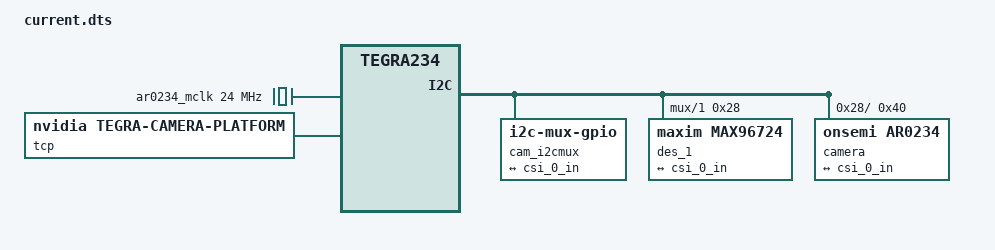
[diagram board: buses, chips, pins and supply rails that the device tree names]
/dts-v1/;
/plugin/;

#define CAM1_PWDN		0xa6
#define CAM_I2C_MUX 	0x13
#define GPIO_ACTIVE_HIGH 0

#define CAM1_LANES 2
#define CAM1_LANES_STRING "2"

/ {
	overlay-name = "AR0234 Integer Channel Fix";
	compatible = "nvidia,p3768-0000+p3767-0005-super",
	             "nvidia,p3767-0005",
	             "nvidia,tegra234";

	fragment@0 {
		target-path = "/";
		__overlay__ {
			ar0234_mclk: ar0234_fixed_clock {
				compatible = "fixed-clock";
				#clock-cells = <0>;
				clock-frequency = <24000000>;
			};
		};
	};

	fragment-camera-ar0234@1 {
		target-path = "/";
		__overlay__ {
			tegra-capture-vi  {
				num-channels = <1>;
				ports {
					#address-cells = <1>;
					#size-cells = <0>;

					vi_port0: port@0 {
						reg = <0>;

						vi_in0: endpoint {
							vc-id = <0>;
							port-index = <2>;
							bus-width = <CAM1_LANES>;
							remote-endpoint = <&csi_0_out>;
						};
					};
				};
			};

			tcp: tegra-camera-platform {
				compatible = "nvidia, tegra-camera-platform";
				num_csi_lanes = <CAM1_LANES>;
				max_lane_speed = <1500000>;
				min_bits_per_pixel = <10>;
				vi_peak_byte_per_pixel = <2>;
				vi_bw_margin_pct = <25>;

				modules {
					cam_module0: module0 {
						badge = "ar0234_custom";
						position = "front";
						orientation = "1";
						status = "okay";
						cam_module0_drivernode0: drivernode0 {
							pcl_id = "v4l2_sensor";
							status = "okay";
							sysfs-device-tree = "/sys/firmware/devicetree/base/bus@0/cam_i2cmux/i2c@1/max96724@28/i2c-mux/i2c@0/camera@40";
						};
					};
				};
			};

			bus@0 {
				host1x@13e00000 {
					nvcsi@15a00000 {
						#address-cells = <1>;
						#size-cells = <0>;

						num-channels = <1>;

						channel@0 {
							reg = <0>;
							status = "okay";
							ports {
								#address-cells = <1>;
								#size-cells = <0>;

								port@0 {
									reg = <0>;
									status = "okay";

									csi_0_in: endpoint@0 {
										status = "okay";
										port-index = <2>;
										bus-width = <CAM1_LANES>;
										remote-endpoint = <&ar0234_0_out>;
									};
								};

								port@1 {
									reg = <1>;
									status = "okay";

									csi_0_out: endpoint@1 {
										status = "okay";
										remote-endpoint = <&vi_in0>;
									};
								};
							};
						};
					};
				};

				cam_i2cmux {
					#address-cells = <1>;
					#size-cells = <0>;

					status = "okay";
					compatible = "i2c-mux-gpio";
					i2c-parent = <0x222>;
					mux-gpios = <0x105 CAM_I2C_MUX GPIO_ACTIVE_HIGH>;

					cam_i2c_1: i2c@1 {
						#address-cells = <1>;
						#size-cells = <0>;

						reg = <1>;
						status = "okay";

						des_1: max96724@28 {
							#address-cells = <1>;
							#size-cells = <0>;

							compatible = "maxim,max96724";
							reg = <0x28>;
							status = "okay";

							reset-gpios = <0xf3 CAM1_PWDN GPIO_ACTIVE_HIGH>;

							gpio-controller;
							#gpio-cells = <2>;

							i2c-mux {
								#address-cells = <1>;
								#size-cells = <0>;

								compatible = "i2c-mux-gpio";
								i2c-parent = <0x222>;
								mux-gpios = <0x105 CAM_I2C_MUX GPIO_ACTIVE_HIGH>;

								des_1_i2c_0: i2c@0 {
									#address-cells = <1>;
									#size-cells = <0>;

									reg = <0>;

									camera@40 {
										compatible = "onsemi,ar0234";

										reg = <0x40>;
										status = "okay";

										clocks = <&ar0234_mclk>;
										clock-names = "cam_mclk1";
										mclk = "cam_mclk1";

										physical_w = "15.0";
										physical_h = "12.5";

										sensor_model = "ar0234";
										use_sensor_mode_id = "true";
										post_crop_frame_drop = "0";

										/* CRITICAL: Use angle brackets for integer cells, NOT quotes */
										channel = <0x00000000>;
										sync_sensor_index = <0x00000000>;

										devnode = "video0";
										data-lanes = <CAM1_LANES>;

										mode0 {
											mclk_khz = "24000";
											num_lanes = CAM1_LANES_STRING;
											tegra_sinterface = "serial_c";
											phy_mode = "DPHY";
											vc_id = "0";
											discontinuous_clk = "no";
											dpcm_enable = "false";
											cil_settletime = "0";

											dynamic_pixel_bit_depth = "10";
											csi_pixel_bit_depth = "10";
											mode_type = "bayer";
											pixel_phase = "grbg";

											active_w = "1920";
											active_h = "1200";
											readout_orientation = "0";
											line_length = "2448";
											inherent_gain = "1";
											mclk_multiplier = "3.01";
											pix_clk_hz = "134400000";
											serdes_pix_clk_hz = "299000000";

											gain_factor = "100";
											min_gain_val = "100";
											max_gain_val = "1600";
											step_gain_val = "1";
											default_gain = "100";

											min_hdr_ratio = "1";
											max_hdr_ratio = "1";

											framerate_factor = "1000000";
											min_framerate = "30000000";
											max_framerate = "30000000";
											step_framerate = "1";
											default_framerate = "30000000";

											exposure_factor = "1000000";
											min_exp_time = "28";
											max_exp_time = "22000";
											step_exp_time = "1";
											default_exp_time = "22000";

											embedded_metadata_height = "0";
										};

										ports {
											#address-cells = <1>;
											#size-cells = <0>;
											port@0 {
												reg = <0>;

												ar0234_0_out: endpoint {
													vc-id = <0>;
													port-index = <2>;
													bus-width = <CAM1_LANES>;
													remote-endpoint = <&csi_0_in>;
												};
											};
										};
									};
								};

								des_1_i2c_1: i2c@1 {
									#address-cells = <1>;
									#size-cells = <0>;
									reg = <1>;
								};

								des_1_i2c_2: i2c@2 {
									#address-cells = <1>;
									#size-cells = <0>;
									reg = <2>;
								};

								des_1_i2c_3: i2c@3 {
									#address-cells = <1>;
									#size-cells = <0>;
									reg = <3>;
								};
							};

							phy@1 {
								reg = <1>;
							};

							pipe@0 {
								reg = <0>;
								status = "okay";

								maxim,phy-id = <1>;
							};

							channel@0 {
								reg = <0>;
								status = "okay";
								label = "des_1_ch_0";
								csi-port = "c";

								maxim,phy-id = <1>;

								clock-lanes = <0>;
								data-lanes = <1 2>;
								link-frequencies = /bits/ 64 <1250000000>;
							};
						};
					};

					cam_i2c_0: i2c@0 {
						#address-cells = <1>;
						#size-cells = <0>;

						reg = <0>;
						status = "okay";
					};
				};
			};
		};
	};
};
